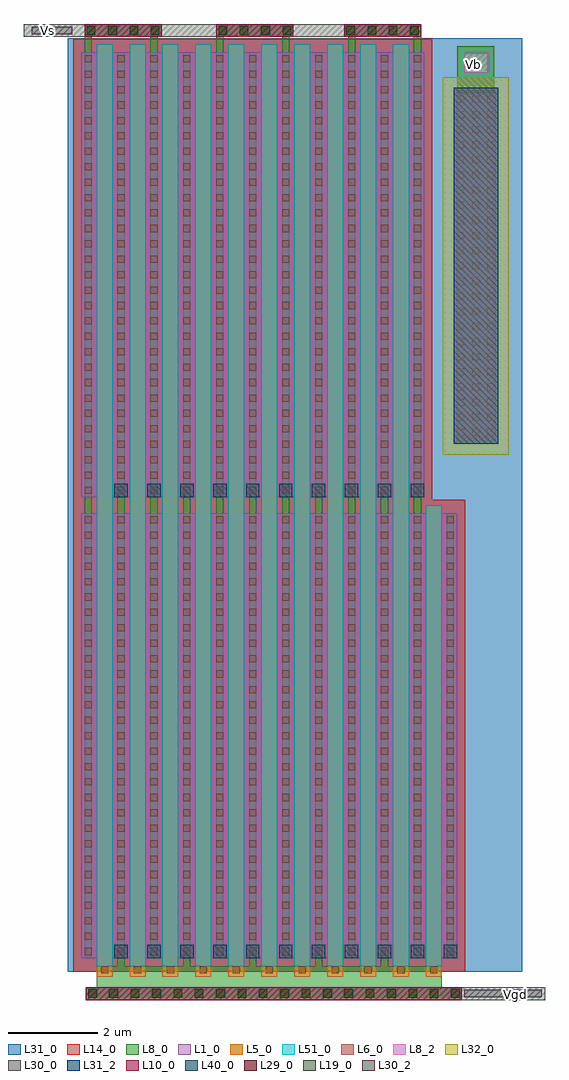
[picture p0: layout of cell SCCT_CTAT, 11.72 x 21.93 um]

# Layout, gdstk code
import gdstk
lib = gdstk.Library(unit=1e-6, precision=5e-09)
def R(c, l, rs):  # rectangles x0, y0, x1, y1
    for r in rs: c.add(gdstk.rectangle(r[:2], r[2:], *l))
def A(c, l, x, y, w, h, nx, ny, dx, dy):  # array of equal rectangles
    R(c, l, [(x+i*dx, y+j*dy, x+i*dx+w, y+j*dy+h) for i in range(nx) for j in range(ny)])
L1_0 = (1, 0)
L5_0 = (5, 0)
L6_0 = (6, 0)
L8_0 = (8, 0)
L8_2 = (8, 2)
L10_0 = (10, 0)
L14_0 = (14, 0)
L19_0 = (19, 0)
L29_0 = (29, 0)
L30_0 = (30, 0)
L30_2 = (30, 2)
L31_0 = (31, 0)
L31_2 = (31, 2)
L32_0 = (32, 0)
L40_0 = (40, 0)
L51_0 = (51, 0)

pmos_1 = lib.new_cell('pmos$1')
R(pmos_1, L1_0, [(0,0,0.3,0.3), (0,0,1.04,10), (0.74,0,1.04,0.3)])
R(pmos_1, L5_0, [(0.34,-0.18,0.7,10.18), (0.34,-0.18,0.7,10.18)])
A(pmos_1, L6_0, 0.07, 0.07, 0.16, 0.16, 1, 4, 0, 0.345)
A(pmos_1, L6_0, 0.81, 0.07, 0.16, 0.16, 1, 4, 0, 0.345)
A(pmos_1, L6_0, 0.07, 1.455, 0.16, 0.16, 1, 3, 0, 0.345)
A(pmos_1, L6_0, 0.81, 1.455, 0.16, 0.16, 1, 3, 0, 0.345)
A(pmos_1, L6_0, 0.07, 2.495, 0.16, 0.16, 1, 4, 0, 0.345)
A(pmos_1, L6_0, 0.81, 2.495, 0.16, 0.16, 1, 4, 0, 0.345)
A(pmos_1, L6_0, 0.07, 3.88, 0.16, 0.16, 1, 3, 0, 0.345)
A(pmos_1, L6_0, 0.81, 3.88, 0.16, 0.16, 1, 3, 0, 0.345)
A(pmos_1, L6_0, 0.07, 4.92, 0.16, 0.16, 1, 4, 0, 0.345)
A(pmos_1, L6_0, 0.81, 4.92, 0.16, 0.16, 1, 4, 0, 0.345)
A(pmos_1, L6_0, 0.07, 6.305, 0.16, 0.16, 1, 3, 0, 0.345)
A(pmos_1, L6_0, 0.81, 6.305, 0.16, 0.16, 1, 3, 0, 0.345)
A(pmos_1, L6_0, 0.07, 7.345, 0.16, 0.16, 1, 4, 0, 0.345)
A(pmos_1, L6_0, 0.81, 7.345, 0.16, 0.16, 1, 4, 0, 0.345)
A(pmos_1, L6_0, 0.07, 8.73, 0.16, 0.16, 1, 3, 0, 0.345)
A(pmos_1, L6_0, 0.81, 8.73, 0.16, 0.16, 1, 3, 0, 0.345)
R(pmos_1, L6_0, [(0.07,9.77,0.23,9.93), (0.81,9.77,0.97,9.93)])
R(pmos_1, L8_0, [(0.07,0,0.23,10), (0.07,0,0.23,10), (0.81,0,0.97,10), (0.81,0,0.97,10)])
R(pmos_1, L14_0, [(-0.18,-0.3,1.22,10.3)])
R(pmos_1, L31_0, [(-0.31,-0.31,1.35,10.31)])
R(pmos_1, L40_0, [(0.74,0,1.04,0.3)])
R(pmos_1, L51_0, [(0.34,-0.18,0.7,10.18)])
pmos_1.add(gdstk.Label('pmos', (0.52,5), layer=63, texttype=0))
pmos_1.add(gdstk.Label('pmos', (0.52,5), layer=51, texttype=0))

ntap1 = lib.new_cell('ntap1')
R(ntap1, L1_0, [(0,0,1,8)])
A(ntap1, L6_0, 0.08, 0.18, 0.16, 0.16, 3, 23, 0.34, 0.34)
R(ntap1, L8_0, [(0.08,0.13,0.92,7.87)])
R(ntap1, L8_2, [(0.08,0.13,0.92,7.87), (0.08,0.18,0.92,7.82)])
R(ntap1, L31_0, [(-0.24,-0.24,1.24,8.24), (0,0,1,8)])
R(ntap1, L31_2, [(0,0,1,8)])
R(ntap1, L32_0, [(-0.24,-0.24,1.24,8.24)])
ntap1.add(gdstk.Label('well', (0.5,0.01), layer=31, texttype=0))
ntap1.add(gdstk.Label('well', (0.5,0.01), layer=63, texttype=0))

via_stack_1 = lib.new_cell('via_stack$1')
R(via_stack_1, L8_0, [(-0.865,-0.145,0.865,0.145)])
R(via_stack_1, L10_0, [(-0.865,-0.145,0.865,0.145)])
A(via_stack_1, L19_0, -0.815, -0.095, 0.19, 0.19, 4, 1, 0.48, 0)
A(via_stack_1, L29_0, -0.815, -0.095, 0.19, 0.19, 4, 1, 0.48, 0)
R(via_stack_1, L30_0, [(-0.865,-0.145,0.865,0.145)])

via_stack_3 = lib.new_cell('via_stack$3')
R(via_stack_3, L8_0, [(-4.225,-0.145,4.225,0.145)])
R(via_stack_3, L10_0, [(-4.225,-0.145,4.225,0.145)])
A(via_stack_3, L19_0, -4.175, -0.095, 0.19, 0.19, 18, 1, 0.48, 0)
A(via_stack_3, L29_0, -4.175, -0.095, 0.19, 0.19, 18, 1, 0.48, 0)
R(via_stack_3, L30_0, [(-4.225,-0.145,4.225,0.145)])

scct_ctat = lib.new_cell('SCCT_CTAT')
A(scct_ctat, L5_0, 0.045, 1.27, 0.36, 0.235, 11, 1, 0.74, 0)
A(scct_ctat, L6_0, 0.145, 1.345, 0.16, 0.16, 11, 1, 0.74, 0)
A(scct_ctat, L8_0, 0.515, 0.745, 0.16, 21.3, 5, 1, 1.48, 0)
A(scct_ctat, L8_0, -0.225, 1.685, 0.16, 20.99, 6, 1, 1.48, 0)
A(scct_ctat, L8_0, 0.515, 1.685, 0.16, 20.36, 10, 1, 0.74, 0)
R(scct_ctat, L8_0, [(0.045,0.745,7.805,1.505), (0.045,1.345,7.805,1.505), (7.915,1.685,8.075,11.685), (8.15,13.37,8.985,22.175)])
R(scct_ctat, L8_2, [(8.305,21.575,8.845,22.03)])
R(scct_ctat, L30_0, [(0.045,0.745,10.13,1.035), (-1.595,22.385,7.335,22.675)])
R(scct_ctat, L30_2, [(8.305,0.81,10.05,0.97), (-1.415,22.45,-0.505,22.61)])
R(scct_ctat, L31_0, [(-0.605,1.375,9.605,22.355)])
scct_ctat.add(gdstk.Reference(pmos_1, (0.445,12.045)))
scct_ctat.add(gdstk.Reference(pmos_1, (1.185,12.045)))
scct_ctat.add(gdstk.Reference(pmos_1, (1.925,12.045)))
scct_ctat.add(gdstk.Reference(pmos_1, (2.665,12.045)))
scct_ctat.add(gdstk.Reference(pmos_1, (3.405,12.045)))
scct_ctat.add(gdstk.Reference(pmos_1, (4.145,12.045)))
scct_ctat.add(gdstk.Reference(pmos_1, (4.885,12.045)))
scct_ctat.add(gdstk.Reference(pmos_1, (5.625,12.045)))
scct_ctat.add(gdstk.Reference(pmos_1, (6.365,12.045)))
scct_ctat.add(gdstk.Reference(pmos_1, (6.365,1.685)))
scct_ctat.add(gdstk.Reference(pmos_1, (5.625,1.685)))
scct_ctat.add(gdstk.Reference(pmos_1, (4.885,1.685)))
scct_ctat.add(gdstk.Reference(pmos_1, (4.145,1.685)))
scct_ctat.add(gdstk.Reference(pmos_1, (3.405,1.685)))
scct_ctat.add(gdstk.Reference(pmos_1, (2.665,1.685)))
scct_ctat.add(gdstk.Reference(pmos_1, (1.925,1.685)))
scct_ctat.add(gdstk.Reference(pmos_1, (1.185,1.685)))
scct_ctat.add(gdstk.Reference(pmos_1, (0.445,1.685)))
scct_ctat.add(gdstk.Reference(pmos_1, (-0.295,1.685)))
scct_ctat.add(gdstk.Reference(pmos_1, (-0.295,12.045)))
scct_ctat.add(gdstk.Reference(pmos_1, (7.105,1.685)))
scct_ctat.add(gdstk.Reference(ntap1, (8.065,13.24)))
scct_ctat.add(gdstk.Reference(via_stack_1, (0.64,22.53)))
scct_ctat.add(gdstk.Reference(via_stack_1, (3.6,22.53)))
scct_ctat.add(gdstk.Reference(via_stack_1, (6.47,22.53)))
scct_ctat.add(gdstk.Reference(via_stack_3, (4.03,0.89)))
scct_ctat.add(gdstk.Label('Vb', (8.52,21.775), layer=8, texttype=25))
scct_ctat.add(gdstk.Label('Vgd', (9.465,0.86), layer=30, texttype=25))
scct_ctat.add(gdstk.Label('Vs', (-1.065,22.535), layer=30, texttype=25))

lib.write_gds('SCCT_CTAT.gds')
